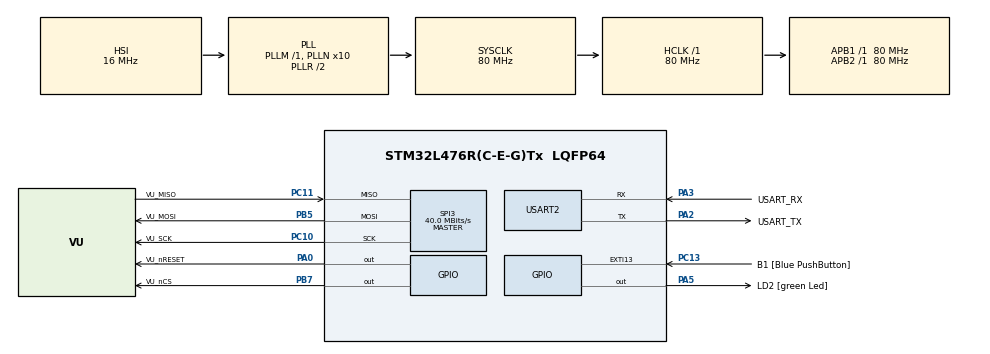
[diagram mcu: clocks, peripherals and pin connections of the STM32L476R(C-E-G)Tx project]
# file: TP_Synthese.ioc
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FREERTOS.Tasks01=defaultTask,0,128,StartDefaultTask,Default,NULL,Dynamic,NULL,NULL
FREERTOS.configTOTAL_HEAP_SIZE=20000
FREERTOS.configUSE_NEWLIB_REENTRANT=1
Mcu.Family=STM32L4
Mcu.Name=STM32L476R(C-E-G)Tx
Mcu.Package=LQFP64
NVIC.PriorityGroup=NVIC_PRIORITYGROUP_4
NVIC.TIM6_DAC_IRQn=true\:15\:0\:false\:false\:true\:false\:false\:true\:true
NVIC.TimeBase=TIM6_DAC_IRQn
NVIC.TimeBaseIP=TIM6
NVIC.USART2_IRQn=true\:5\:0\:false\:false\:true\:true\:true\:true\:true
PA0.GPIO_Label=VU_nRESET
PA0.PinState=GPIO_PIN_SET
PA0.Signal=GPIO_Output
PA13\ (JTMS-SWDIO).GPIO_Label=TMS
PA13\ (JTMS-SWDIO).Signal=SYS_JTMS-SWDIO
PA14\ (JTCK-SWCLK).GPIO_Label=TCK
PA14\ (JTCK-SWCLK).Signal=SYS_JTCK-SWCLK
PA2.GPIO_Label=USART_TX
PA2.GPIO_Mode=GPIO_MODE_AF_PP
PA2.GPIO_PuPd=GPIO_NOPULL
PA2.GPIO_Speed=GPIO_SPEED_FREQ_VERY_HIGH
PA2.Mode=Asynchronous
PA2.Signal=USART2_TX
PA3.GPIO_Label=USART_RX
PA3.GPIO_Mode=GPIO_MODE_AF_PP
PA3.GPIO_PuPd=GPIO_NOPULL
PA3.GPIO_Speed=GPIO_SPEED_FREQ_VERY_HIGH
PA3.Mode=Asynchronous
PA3.Signal=USART2_RX
PA5.GPIO_Label=LD2 [green Led]
PA5.GPIO_ModeDefaultOutputPP=GPIO_MODE_OUTPUT_PP
PA5.GPIO_PuPd=GPIO_NOPULL
PA5.GPIO_Speed=GPIO_SPEED_FREQ_LOW
PA5.Signal=GPIO_Output
PB3\ (JTDO-TRACESWO).GPIO_Label=SWO
PB3\ (JTDO-TRACESWO).Signal=SYS_JTDO-SWO
PB5.GPIO_Label=VU_MOSI
PB5.Mode=Full_Duplex_Master
PB5.Signal=SPI3_MOSI
PB7.GPIO_Label=VU_nCS
PB7.PinState=GPIO_PIN_SET
PB7.Signal=GPIO_Output
PC10.GPIO_Label=VU_SCK
PC10.Mode=Full_Duplex_Master
PC10.Signal=SPI3_SCK
PC11.GPIO_Label=VU_MISO
PC11.Mode=Full_Duplex_Master
PC11.Signal=SPI3_MISO
PC13.GPIO_Label=B1 [Blue PushButton]
PC13.GPIO_ModeDefaultEXTI=GPIO_MODE_IT_FALLING
PC13.GPIO_PuPd=GPIO_NOPULL
PC13.Signal=GPXTI13
PC14-OSC32_IN\ (PC14).Mode=LSE-External-Oscillator
PC14-OSC32_IN\ (PC14).Signal=RCC_OSC32_IN
PC15-OSC32_OUT\ (PC15).Mode=LSE-External-Oscillator
PC15-OSC32_OUT\ (PC15).Signal=RCC_OSC32_OUT
PH0-OSC_IN\ (PH0).Signal=RCC_OSC_IN
PH1-OSC_OUT\ (PH1).Signal=RCC_OSC_OUT
ProjectManager.HeapSize=0x200
ProjectManager.StackSize=0x400
ProjectManager.TargetToolchain=STM32CubeIDE
RCC.ADCFreq_Value=64000000
RCC.AHBFreq_Value=80000000
RCC.APB1Freq_Value=80000000
RCC.APB1TimFreq_Value=80000000
RCC.APB2Freq_Value=80000000
RCC.APB2TimFreq_Value=80000000
RCC.CortexFreq_Value=80000000
RCC.HCLKFreq_Value=80000000
RCC.HSE_VALUE=8000000
RCC.HSI_VALUE=16000000
RCC.MSI_VALUE=4000000
RCC.PLLN=10
RCC.PLLSourceVirtual=RCC_PLLSOURCE_HSI
RCC.PREFETCH_ENABLE=1
RCC.SYSCLKFreq_VALUE=80000000
RCC.SYSCLKSource=RCC_SYSCLKSOURCE_PLLCLK
RCC.USBFreq_Value=64000000
RCC.VCOOutputFreq_Value=160000000
SPI3.CalculateBaudRate=40.0 MBits/s
SPI3.DataSize=SPI_DATASIZE_8BIT
SPI3.Direction=SPI_DIRECTION_2LINES
SPI3.Mode=SPI_MODE_MASTER
SPI3.VirtualType=VM_MASTER
USART2.VirtualMode-Asynchronous=VM_ASYNC
VP_FREERTOS_VS_CMSIS_V1.Mode=CMSIS_V1
VP_SYS_VS_tim6.Mode=TIM6
board=NUCLEO-L476RG

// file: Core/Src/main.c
/* USER CODE BEGIN Header */
/**
  ******************************************************************************
  * @file           : main.c
  * @brief          : Main program body
  ******************************************************************************
  * @attention
  *
  * Copyright (c) 2025 STMicroelectronics.
  * All rights reserved.
  *
  * This software is licensed under terms that can be found in the LICENSE file
  * in the root directory of this software component.
  * If no LICENSE file comes with this software, it is provided AS-IS.
  *
  ******************************************************************************
  */
/* USER CODE END Header */
#include "main.h"
#include "cmsis_os.h"
#include "spi.h"
#include "usart.h"
#include "gpio.h"

/* USER CODE BEGIN Includes */
#include <stdio.h>
#include <string.h>

#include "shell.h"
#include "drv_uart.h"
#include "leds.h"
/* USER CODE END Includes */

/* USER CODE BEGIN PV */
SemaphoreHandle_t uartRxSemaphore;
uint8_t rxCharBuffer;
/* USER CODE END PV */

void SystemClock_Config(void);
void MX_FREERTOS_Init(void);

/* USER CODE BEGIN 0 */
int __io_putchar(int ch)
{
	HAL_UART_Transmit(&huart2, (uint8_t*)&ch, 1, HAL_MAX_DELAY);

	return ch;
}

void ShellTask(void * unused)
{
	h_shell_t h_shell;
	drv_shell_t drv_shell;

	drv_shell.transmit = drv_uart_transmit;
	drv_shell.receive = drv_uart_receive;

	h_shell.drv = drv_shell;

	shell_init(&h_shell);

	// Init LED Driver and add command
	LED_Driver_Init(&led_driver);
	shell_add(&h_shell, 'l', shell_control_led, "Control LEDs: l <port> <pin> <state>");
	shell_add(&h_shell, 'k', shell_chenillard, "Chenillard effect");
	shell_add(&h_shell, 'b', shell_blink_all, "Blink all LEDs");

	shell_run(&h_shell);
}
/* USER CODE END 0 */

int main(void)
{

  /* MCU Configuration--------------------------------------------------------*/

  /* Reset of all peripherals, Initializes the Flash interface and the Systick. */
  HAL_Init();

  /* Configure the system clock */
  SystemClock_Config();

  /* Initialize all configured peripherals */
  MX_GPIO_Init();
  MX_USART2_UART_Init();
  MX_SPI3_Init();
  /* USER CODE BEGIN 2 */

  uartRxSemaphore = xSemaphoreCreateBinary();
  HAL_UART_Receive_IT(&huart2, &rxCharBuffer, 1);

  if (xTaskCreate(ShellTask, "Shell", 1024, NULL, 1, NULL) != pdPASS)
  {
	  printf("Task Creation Failed\r\n");
	  Error_Handler();
  }
  /* USER CODE END 2 */

  /* Call init function for freertos objects (in cmsis_os2.c) */
  MX_FREERTOS_Init();

  /* Start scheduler */
  vTaskStartScheduler();

  /* We should never get here as control is now taken by the scheduler */

  /* Infinite loop */
  while (1)
  {

  }
}

void SystemClock_Config(void)
{
  RCC_OscInitTypeDef RCC_OscInitStruct = {0};
  RCC_ClkInitTypeDef RCC_ClkInitStruct = {0};

  /** Configure the main internal regulator output voltage
  */
  if (HAL_PWREx_ControlVoltageScaling(PWR_REGULATOR_VOLTAGE_SCALE1) != HAL_OK)
  {
    Error_Handler();
  }

  /** Initializes the RCC Oscillators according to the specified parameters
  * in the RCC_OscInitTypeDef structure.
  */
  RCC_OscInitStruct.OscillatorType = RCC_OSCILLATORTYPE_HSI;
  RCC_OscInitStruct.HSIState = RCC_HSI_ON;
  RCC_OscInitStruct.HSICalibrationValue = RCC_HSICALIBRATION_DEFAULT;
  RCC_OscInitStruct.PLL.PLLState = RCC_PLL_ON;
  RCC_OscInitStruct.PLL.PLLSource = RCC_PLLSOURCE_HSI;
  RCC_OscInitStruct.PLL.PLLM = 1;
  RCC_OscInitStruct.PLL.PLLN = 10;
  RCC_OscInitStruct.PLL.PLLP = RCC_PLLP_DIV7;
  RCC_OscInitStruct.PLL.PLLQ = RCC_PLLQ_DIV2;
  RCC_OscInitStruct.PLL.PLLR = RCC_PLLR_DIV2;
  if (HAL_RCC_OscConfig(&RCC_OscInitStruct) != HAL_OK)
  {
    Error_Handler();
  }

  /** Initializes the CPU, AHB and APB buses clocks
  */
  RCC_ClkInitStruct.ClockType = RCC_CLOCKTYPE_HCLK|RCC_CLOCKTYPE_SYSCLK
                              |RCC_CLOCKTYPE_PCLK1|RCC_CLOCKTYPE_PCLK2;
  RCC_ClkInitStruct.SYSCLKSource = RCC_SYSCLKSOURCE_PLLCLK;
  RCC_ClkInitStruct.AHBCLKDivider = RCC_SYSCLK_DIV1;
  RCC_ClkInitStruct.APB1CLKDivider = RCC_HCLK_DIV1;
  RCC_ClkInitStruct.APB2CLKDivider = RCC_HCLK_DIV1;

  if (HAL_RCC_ClockConfig(&RCC_ClkInitStruct, FLASH_LATENCY_4) != HAL_OK)
  {
    Error_Handler();
  }
}

/* USER CODE BEGIN 4 */
void HAL_UART_RxCpltCallback(UART_HandleTypeDef *huart)
{
  if (huart->Instance == USART2)
  {
    BaseType_t xHigherPriorityTaskWoken = pdFALSE;

    xSemaphoreGiveFromISR(uartRxSemaphore, &xHigherPriorityTaskWoken);

    HAL_UART_Receive_IT(&huart2, &rxCharBuffer, 1);

    portYIELD_FROM_ISR(xHigherPriorityTaskWoken);
  }
}
/* USER CODE END 4 */

void HAL_TIM_PeriodElapsedCallback(TIM_HandleTypeDef *htim)
{
  if (htim->Instance == TIM6)
  {
    HAL_IncTick();
  }
}

void Error_Handler(void)
{
  __disable_irq();
  while (1)
  {
  }
}
